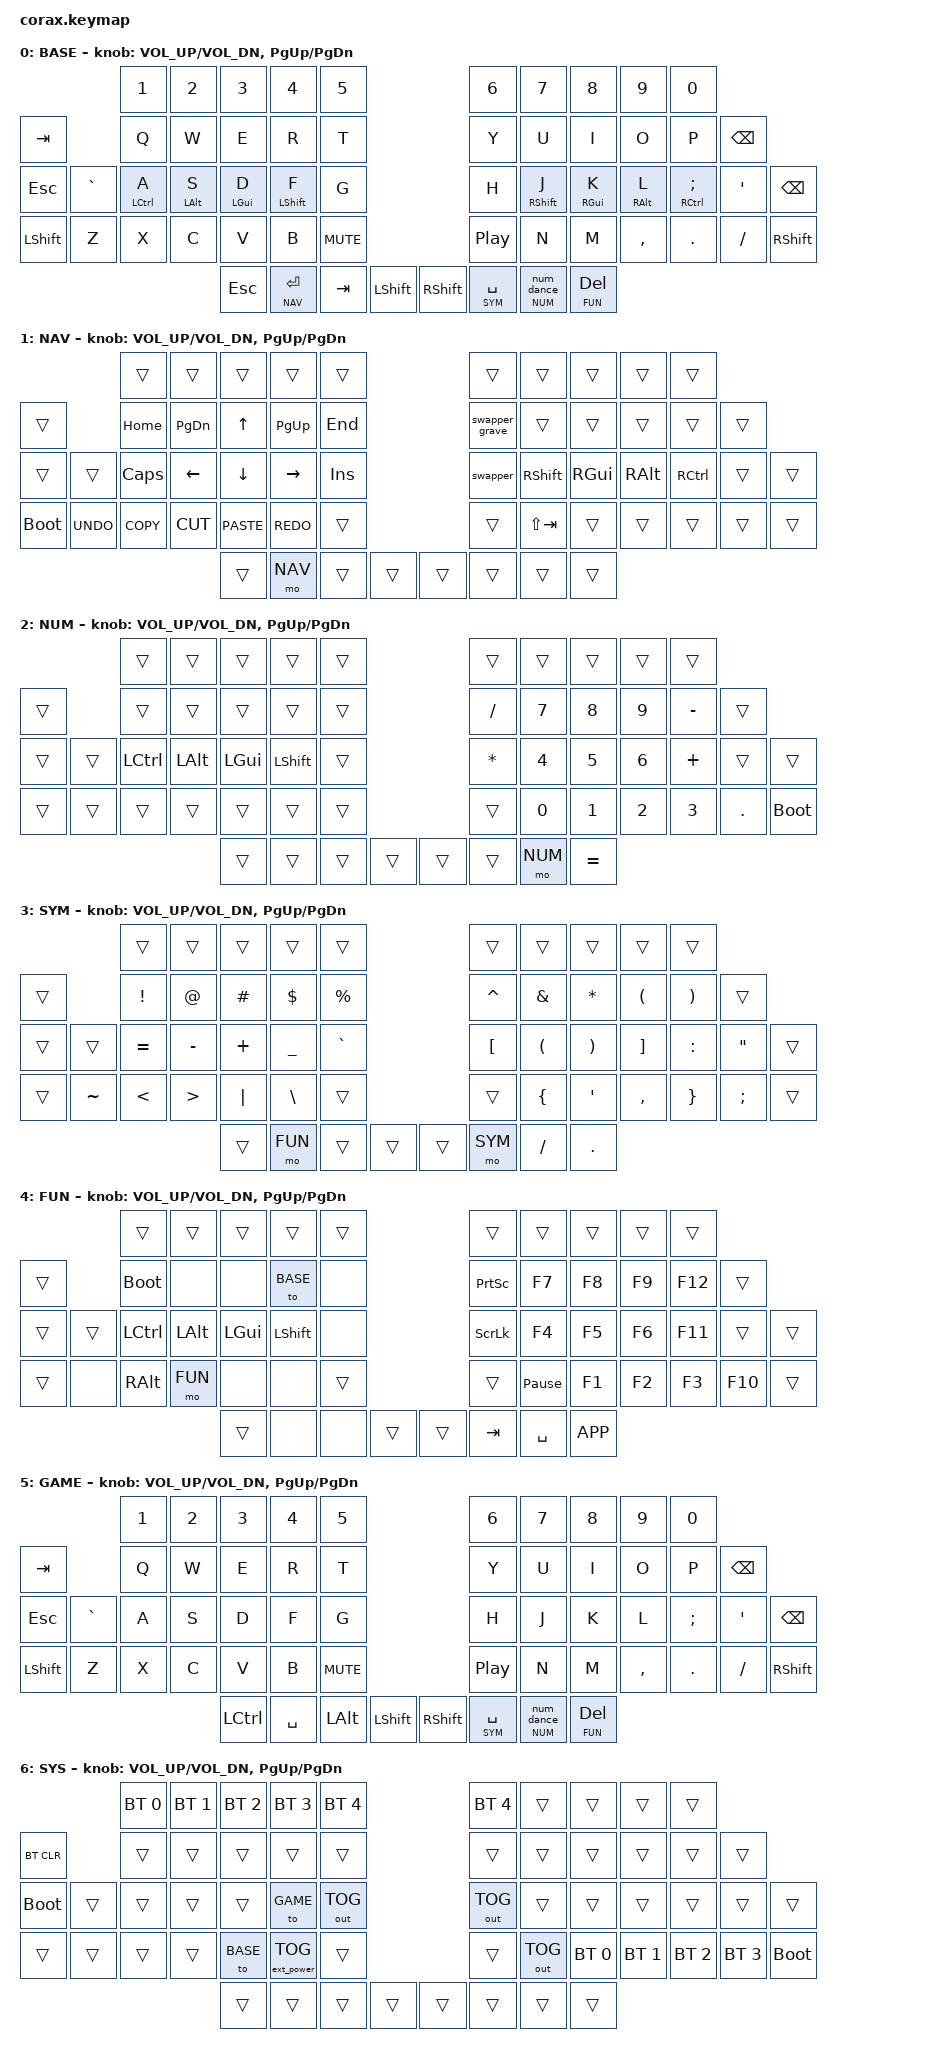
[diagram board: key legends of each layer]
/*
 * Corax56 58-key keymap with Miryoku-inspired layout
 * Based on Hillside View keymap with left-side ESDF navigation
 * Copyright (c) 2022 The ZMK Contributors
 * SPDX-License-Identifier: MIT
 */

#include <zmk-helpers/helper.h>
#include <behaviors.dtsi>
#include <dt-bindings/zmk/keys.h>
#include <dt-bindings/zmk/bt.h>
#include <dt-bindings/zmk/outputs.h>
#include <dt-bindings/zmk/ext_power.h>
#include <dt-bindings/zmk/reset.h>

// Layer definitions
#define BASE 0
#define NAV 1
#define NUM 2
#define SYM 3
#define FUN 4
#define GAME 5
#define SYS 6

// Corax56 physical layout (58 keys, 0-indexed):
//
//              [0]  [1]  [2]  [3]  [4]                        [5]  [6]  [7]  [8]  [9]           <- Number row (10)
//       [10]  [11] [12] [13] [14] [15]                       [16] [17] [18] [19] [20] [21]     <- Upper row (12)
// [22] [23]  [24]  [25] [26] [27] [28]                       [29] [30] [31] [32] [33] [34] [35] <- Home row (14, w/ splay)
//       [36] [37]  [38] [39] [40] [41] [42]           [43]   [44] [45] [46] [47] [48] [49]     <- Lower row (14, w/ encoders)
//                        [50] [51] [52] [53]           [54]  [55] [56] [57]                     <- Thumb cluster (8)

// Key position groups for positional hold-tap (no key-labels header for Corax)
// Left hand keys (29 positions)
#define KEYS_L 0 1 2 3 4 10 11 12 13 14 15 22 23 24 25 26 27 28 36 37 38 39 40 41 42
// Right hand keys (29 positions)
#define KEYS_R 5 6 7 8 9 16 17 18 19 20 21 29 30 31 32 33 34 35 43 44 45 46 47 48 49
// Thumb keys (8 positions)
#define THUMBS 50 51 52 53 54 55 56 57

/ {
    behaviors {
        // Swapper for Ctrl+Tab window switching (macOS with swapped GUI/Ctrl)
        swapper: swapper {
            compatible = "zmk,behavior-tri-state";
            #binding-cells = <0>;
            bindings = <&kt LCTRL>, <&kp TAB>, <&kt LCTRL>;
            ignored-key-positions = <11 12 13 14 24 25 26 27 28 39>;
        };

        // Swapper for Ctrl+` window switching within same app (macOS)
        swapper_grave: swapper_grave {
            compatible = "zmk,behavior-tri-state";
            #binding-cells = <0>;
            bindings = <&kt LCTRL>, <&kp GRAVE>, <&kt LCTRL>;
            ignored-key-positions = <11 12 13 14 24 25 26 27 28 39>;
        };

        // Home row mods - left hand (urob's timing)
        hml: homerow_mods_left {
            compatible = "zmk,behavior-hold-tap";
            #binding-cells = <2>;
            flavor = "balanced";
            tapping-term-ms = <280>;
            quick-tap-ms = <175>;
            require-prior-idle-ms = <150>;
            bindings = <&kp>, <&kp>;
            hold-trigger-key-positions = <KEYS_R THUMBS>;
            hold-trigger-on-release;
        };

        // Home row mods - right hand (urob's timing)
        hmr: homerow_mods_right {
            compatible = "zmk,behavior-hold-tap";
            #binding-cells = <2>;
            flavor = "balanced";
            tapping-term-ms = <280>;
            quick-tap-ms = <175>;
            require-prior-idle-ms = <150>;
            bindings = <&kp>, <&kp>;
            hold-trigger-key-positions = <KEYS_L THUMBS>;
            hold-trigger-on-release;
        };

        // Tap-dance for numword: tap=sticky layer, double-tap=toggle layer
        num_dance: num_dance {
            compatible = "zmk,behavior-tap-dance";
            #binding-cells = <0>;
            tapping-term-ms = <200>;
            bindings = <&sl NUM>, <&tog NUM>;
        };

        // Smart-num: hold=momentary NUM, tap=numword
        smart_num: smart_num {
            compatible = "zmk,behavior-hold-tap";
            #binding-cells = <2>;
            flavor = "balanced";
            tapping-term-ms = <200>;
            quick-tap-ms = <175>;
            bindings = <&mo>, <&num_dance>;
        };
    };

    combos {
        compatible = "zmk,combos";

        // Combo to access SYS layer (Q + Z on left side)
        combo_sys {
            timeout-ms = <50>;
            key-positions = <11 37>; // Q + Z positions
            bindings = <&mo SYS>;
            layers = <BASE GAME>;
        };
    };

    conditional_layers {
        compatible = "zmk,conditional-layers";

        // SYM + FUN held together activates SYS layer
        tri_layer {
            if-layers = <SYM FUN>;
            then-layer = <SYS>;
        };
    };

    keymap {
        compatible = "zmk,keymap";

        // BASE LAYER - QWERTY with urob's home row mods (CAGS order) + number row
        base_layer {
            display-name = "BASE";
            // ---------------------------------------------------------------------------------------------------------------------------
            //              |  1  |  2  |  3  |  4  |  5  |                             |  6  |  7  |  8  |  9  |  0  |
            //       | TAB  |  Q  |  W  |  E  |  R  |  T  |                             |  Y  |  U  |  I  |  O  |  P  | BSPC |
            // | ESC |  `   |CTRL |ALT  |GUI  |SHFT |  G  |                             |  H  |SHFT |GUI  |ALT  |CTRL | '    | BSPC |
            //       |      |  A  |  S  |  D  |  F  |     |                             |     |  J  |  K  |  L  |  ;  |      |
            //       | LSHFT|  Z  |  X  |  C  |  V  |  B  | MUTE |               |  PP  |  N  |  M  |  ,  |  .  |  /  | RSHFT|
            //                          | ESC | NAV | TAB |LSHFT |               |RSHFT | SYM | NUM | FUN |
            //                          |     | RET |     |      |               |      | SPC | BSP | DEL |
            bindings = <
                     &kp N1         &kp N2       &kp N3        &kp N4        &kp N5                                       &kp N6        &kp N7          &kp N8        &kp N9       &kp N0
&kp TAB              &kp Q          &kp W        &kp E         &kp R         &kp T                                        &kp Y         &kp U           &kp I         &kp O        &kp P            &kp BSPC
&kp ESC    &kp GRAVE &hml LCTRL A   &hml LALT S  &hml LGUI D   &hml LSHFT F  &kp G                                        &kp H         &hmr RSHFT J    &hmr RGUI K   &hmr RALT L  &hmr RCTRL SEMI  &kp SQT    &kp BSPC
           &kp LSHFT &kp Z          &kp X        &kp C         &kp V         &kp B         &kp C_MUTE          &kp C_PP   &kp N         &kp M           &kp COMMA     &kp DOT      &kp FSLH         &kp RSHFT
                                                  &kp ESC       &lt NAV RET   &kp TAB       &kp LSHFT           &kp RSHFT  &lt SYM SPACE &smart_num NUM 0 &lt FUN DEL
            >;
            sensor-bindings = <&inc_dec_kp C_VOL_UP C_VOL_DN &inc_dec_kp PG_UP PG_DN>;
        };

        // NAV LAYER - Navigation (one-handed LEFT side, ESDF arrows)
        nav_layer {
            display-name = "NAV";
            // ---------------------------------------------------------------------------------------------------------------------------
            //              |     |     |     |     |     |                             |     |     |     |     |     |
            //       |      | HOME|PG_DN| UP  |PG_UP| END |                             |SW_` |     |     |     |     |      |
            // |     |      | CAPS| LEFT| DOWN|RIGHT| INS |                             |SWAP |SHFT |GUI  |ALT  |CTRL |      |      |
            //       | BOOT | UNDO| COPY| CUT |PASTE| REDO|      |               |      |S+TAB|     |     |     |     |      |
            //                          |     | NAV |     |      |               |      |     |     |     |
            bindings = <
                     &trans     &trans     &trans     &trans      &trans                                         &trans         &trans     &trans    &trans    &trans
&trans               &kp HOME   &kp PG_DN  &kp UP     &kp PG_UP   &kp END                                        &swapper_grave &trans     &trans    &trans    &trans     &trans
&trans     &trans    &kp CAPS   &kp LEFT   &kp DOWN   &kp RIGHT   &kp INS                                        &swapper       &kp RSHFT  &kp RGUI  &kp RALT  &kp RCTRL  &trans     &trans
           &bootloader &kp K_UNDO &kp K_COPY &kp K_CUT &kp K_PASTE &kp K_REDO    &trans                 &trans   &kp LS(TAB)    &trans     &trans    &trans    &trans     &trans
                                            &trans     &mo NAV     &trans         &trans                 &trans   &trans         &trans     &trans
            >;
            sensor-bindings = <&inc_dec_kp C_VOL_UP C_VOL_DN &inc_dec_kp PG_UP PG_DN>;
        };

        // NUM LAYER - Number pad (one-handed right side, urob's design)
        num_layer {
            display-name = "NUM";
            // ---------------------------------------------------------------------------------------------------------------------------
            //              |     |     |     |     |     |                             |     |     |     |     |     |
            //       |      |     |     |     |     |     |                             |  /  |  7  |  8  |  9  |  -  |      |
            // |     |      | CTRL| ALT | GUI |SHFT |     |                             |  *  |  4  |  5  |  6  |  +  |      |      |
            //       |      |     |     |     |     |     |      |               |      |  0  |  1  |  2  |  3  |  .  | BOOT |
            //                          |     |     |     |      |               |      | NUM |  =  |     |
            bindings = <
                     &trans     &trans    &trans    &trans     &trans                                          &trans    &trans  &trans  &trans  &trans
&trans               &trans     &trans    &trans    &trans     &trans                                          &kp FSLH  &kp N7  &kp N8  &kp N9  &kp MINUS   &trans
&trans     &trans    &kp LCTRL  &kp LALT  &kp LGUI  &kp LSHFT  &trans                                          &kp STAR  &kp N4  &kp N5  &kp N6  &kp PLUS    &trans      &trans
           &trans    &trans     &trans    &trans    &trans     &trans        &trans                 &trans     &kp N0    &kp N1  &kp N2  &kp N3  &kp DOT     &bootloader
                                          &trans    &trans     &trans        &trans                 &trans     &trans    &mo NUM &kp EQUAL
            >;
            sensor-bindings = <&inc_dec_kp C_VOL_UP C_VOL_DN &inc_dec_kp PG_UP PG_DN>;
        };

        // SYM LAYER - Symbols
        sym_layer {
            display-name = "SYM";
            // ---------------------------------------------------------------------------------------------------------------------------
            //              |     |     |     |     |     |                             |     |     |     |     |     |
            //       |      |  !  |  @  |  #  |  $  |  %  |                             |  ^  |  &  |  *  |  (  |  )  |      |
            // |     |      |  =  |  -  |  +  |  _  |  `  |                             |  [  |  (  |  )  |  ]  |  :  |  "   |      |
            //       |      |  ~  |  <  |  >  |  |  |  \  |      |               |      |  {  |  '  |  ,  |  }  |  ;  |      |
            //                          |     | FUN |     |      |               | SYM  |  /  |  .  |     |
            bindings = <
                     &trans     &trans    &trans    &trans    &trans                                           &trans    &trans    &trans    &trans    &trans
&trans               &kp EXCL   &kp AT    &kp HASH  &kp DLLR  &kp PRCNT                                       &kp CARET &kp AMPS  &kp ASTRK &kp LPAR  &kp RPAR  &trans
&trans     &trans    &kp EQUAL  &kp MINUS &kp PLUS  &kp UNDER &kp GRAVE                                       &kp LBKT  &kp LPAR  &kp RPAR  &kp RBKT  &kp COLON &kp DQT    &trans
           &trans    &kp TILDE  &kp LT    &kp GT    &kp PIPE  &kp BSLH      &trans                 &trans    &kp LBRC  &kp SQT   &kp COMMA &kp RBRC  &kp SEMI  &trans
                                          &trans    &mo FUN   &trans        &trans                 &trans    &mo SYM   &kp FSLH  &kp DOT
            >;
            sensor-bindings = <&inc_dec_kp C_VOL_UP C_VOL_DN &inc_dec_kp PG_UP PG_DN>;
        };

        // FUN LAYER - Function keys (right hand)
        fun_layer {
            display-name = "FUN";
            // ---------------------------------------------------------------------------------------------------------------------------
            //              |     |     |     |     |     |                             |     |     |     |     |     |
            //       |      | BOOT|     |     | BASE|     |                             | PSCR| F7  | F8  | F9  | F12 |      |
            // |     |      | CTRL| ALT | GUI |SHFT |     |                             | SLCK| F4  | F5  | F6  | F11 |      |      |
            //       |      |     | RALT| FUN |     |     |      |               |      | PAUS| F1  | F2  | F3  | F10 |      |
            //                          |     |     |     |      |               |      | TAB | SPC | APP |
            bindings = <
                     &trans      &trans    &trans     &trans     &trans                                         &trans           &trans     &trans     &trans     &trans
&trans               &bootloader &none     &none      &to BASE   &none                                          &kp PSCRN        &kp F7     &kp F8     &kp F9     &kp F12  &trans
&trans     &trans    &kp LCTRL   &kp LALT  &kp LGUI   &kp LSHFT  &none                                          &kp SLCK         &kp F4     &kp F5     &kp F6     &kp F11  &trans     &trans
           &trans    &none       &kp RALT  &mo FUN    &none      &none         &trans                 &trans    &kp PAUSE_BREAK  &kp F1     &kp F2     &kp F3     &kp F10  &trans
                                           &trans     &none      &none         &trans                 &trans    &kp TAB          &kp SPACE  &kp K_APP
            >;
            sensor-bindings = <&inc_dec_kp C_VOL_UP C_VOL_DN &inc_dec_kp PG_UP PG_DN>;
        };

        // GAME LAYER - Gaming mode (no home row mods, instant key response)
        game_layer {
            display-name = "GAME";
            // Q+Z combo opens SYS layer to toggle back to BASE
            bindings = <
                     &kp N1     &kp N2     &kp N3     &kp N4     &kp N5                                        &kp N6        &kp N7       &kp N8        &kp N9       &kp N0
&kp TAB              &kp Q      &kp W      &kp E      &kp R      &kp T                                         &kp Y         &kp U        &kp I         &kp O        &kp P         &kp BSPC
&kp ESC    &kp GRAVE &kp A      &kp S      &kp D      &kp F      &kp G                                         &kp H         &kp J        &kp K         &kp L        &kp SEMI      &kp SQT    &kp BSPC
           &kp LSHFT &kp Z      &kp X      &kp C      &kp V      &kp B         &kp C_MUTE          &kp C_PP   &kp N         &kp M        &kp COMMA     &kp DOT      &kp FSLH      &kp RSHFT
                                            &kp LCTRL  &kp SPACE  &kp LALT      &kp LSHFT           &kp RSHFT  &lt SYM SPACE &smart_num NUM 0 &lt FUN DEL
            >;
            sensor-bindings = <&inc_dec_kp C_VOL_UP C_VOL_DN &inc_dec_kp PG_UP PG_DN>;
        };

        // SYS LAYER - System controls (activated by SYM + FUN or Q+Z combo)
        sys_layer {
            display-name = "SYS";
            bindings = <
                     &bt BT_SEL 0  &bt BT_SEL 1  &bt BT_SEL 2  &bt BT_SEL 3  &bt BT_SEL 4                                 &bt BT_SEL 4  &trans          &trans          &trans          &trans
&bt BT_CLR           &trans        &trans        &trans        &trans        &trans                                         &trans        &trans          &trans          &trans          &trans       &trans
&bootloader &trans   &trans        &trans        &trans        &to GAME      &out OUT_TOG                                   &out OUT_TOG  &trans          &trans          &trans          &trans       &trans     &trans
            &trans   &trans        &trans        &trans        &to BASE      &ext_power EP_TOG &trans               &trans   &out OUT_TOG  &bt BT_SEL 0    &bt BT_SEL 1    &bt BT_SEL 2    &bt BT_SEL 3 &bootloader
                                                 &trans        &trans        &trans            &trans               &trans   &trans        &trans          &trans
            >;
            sensor-bindings = <&inc_dec_kp C_VOL_UP C_VOL_DN &inc_dec_kp PG_UP PG_DN>;
        };

        // Reserved layers for ZMK Studio
        extra_1 {
            status = "reserved";
        };

        extra_2 {
            status = "reserved";
        };

        extra_3 {
            status = "reserved";
        };
    };
};
